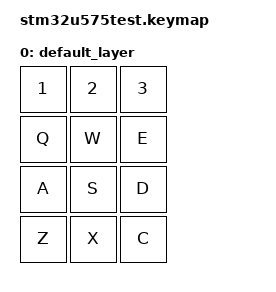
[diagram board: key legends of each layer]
#include <behaviors.dtsi>
#include <dt-bindings/zmk/keys.h>

/ {
    keymap {
        compatible = "zmk,keymap";
        default_layer {
            // ------------------------------------------------------------------------------------------
            // |  1  |  2  |  3  |
            // |  Q  |  W  |  E  |
            // |  A  |  S  |  D  |
            // |  Z  |  X  |  C  |
            // ------------------------------------------------------------------------------------------
            bindings = <
                &kp N1 &kp N2 &kp N3
                &kp Q  &kp W  &kp E
                &kp A  &kp S  &kp D
                &kp Z  &kp X  &kp C
            >;
        };
    };
};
